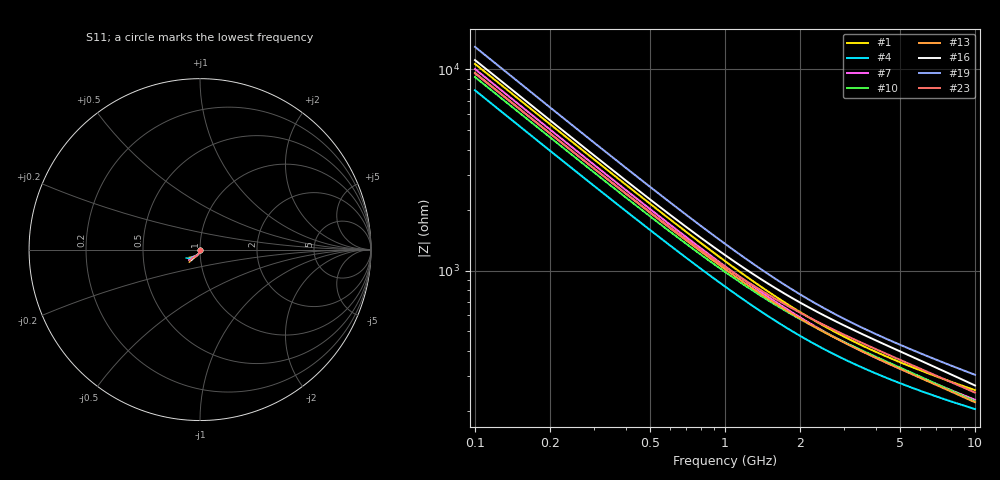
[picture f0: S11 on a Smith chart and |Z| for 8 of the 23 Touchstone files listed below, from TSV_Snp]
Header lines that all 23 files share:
! Touchstone file exported from HFSS 2024.1.0
!  Design:  TSV1
!  Setup:  Setup1
!  Solution:  Sweep
! Variables:
# GHz S MA R 50.000000
! Terminal data exported
! Port[1] = TSV22_T1
! Port[2] = TSV22_T2
Fixed: hbump = 3um, lrdl = 252.1521522um, p = 40, t = 500um, trdl = 3um, wrdl = 24.89489489um
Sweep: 100 MHz to 10 GHz
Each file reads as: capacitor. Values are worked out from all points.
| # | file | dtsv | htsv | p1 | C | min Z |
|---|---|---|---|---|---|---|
| 1 | dut3.s2p | 17.01um | 72.2um | 44.7um | 149 fF | 255 ohm |
| 2 | dut5.s2p | 17.5um | 70.86um | 48.13um | 151 fF | 266 ohm |
| 3 | dut13.s2p | 18.3um | 78.79um | 41.23um | 175 fF | 205 ohm |
| 4 | dut14.s2p | 18.96um | 88.2um | 50.96um | 202 fF | 205 ohm |
| 5 | dut17.s2p | 21.42um | 85.87um | 49.25um | 222 fF | 179 ohm |
| 6 | dut19.s2p | 23.92um | 73.76um | 56.32um | 213 fF | 203 ohm |
| 7 | dut20.s2p | 17.6um | 74.23um | 41.64um | 159 fF | 228 ohm |
| 8 | dut22.s2p | 22.25um | 61.9um | 53.18um | 167 fF | 252 ohm |
| 9 | dut23.s2p | 27.03um | 96.83um | 58.59um | 315 fF | 137 ohm |
| 10 | dut24.s2p | 23.12um | 61.8um | 48.69um | 174 fF | 224 ohm |
| 11 | dut28.s2p | 22.26um | 92.93um | 48.95um | 249 fF | 157 ohm |
| 12 | dut31.s2p | 19.65um | 76.1um | 52.89um | 181 fF | 236 ohm |
| 13 | dut35.s2p | 20.27um | 67.29um | 43.31um | 166 fF | 222 ohm |
| 14 | dut41.s2p | 26.81um | 99.26um | 56.84um | 320 fF | 132 ohm |
| 15 | dut43.s2p | 24.26um | 57.66um | 56.23um | 170 fF | 254 ohm |
| 16 | dut48.s2p | 22.63um | 51.73um | 47.41um | 143 fF | 269 ohm |
| 17 | dut52.s2p | 27.54um | 93.18um | 58.58um | 308 fF | 139 ohm |
| 18 | dut53.s2p | 17.8um | 91.12um | 50.97um | 196 fF | 212 ohm |
| 19 | dut57.s2p | 17.82um | 56.54um | 43.43um | 123 fF | 304 ohm |
| 20 | dut58.s2p | 20.28um | 93.51um | 51.98um | 228 fF | 183 ohm |
| 21 | dut64.s2p | 15.43um | 99.59um | 45.78um | 186 fF | 207 ohm |
| 22 | dut66.s2p | 16.75um | 78.98um | 41.35um | 161 fF | 225 ohm |
| 23 | dut67.s2p | 24.82um | 55.06um | 53.62um | 166 fF | 248 ohm |
